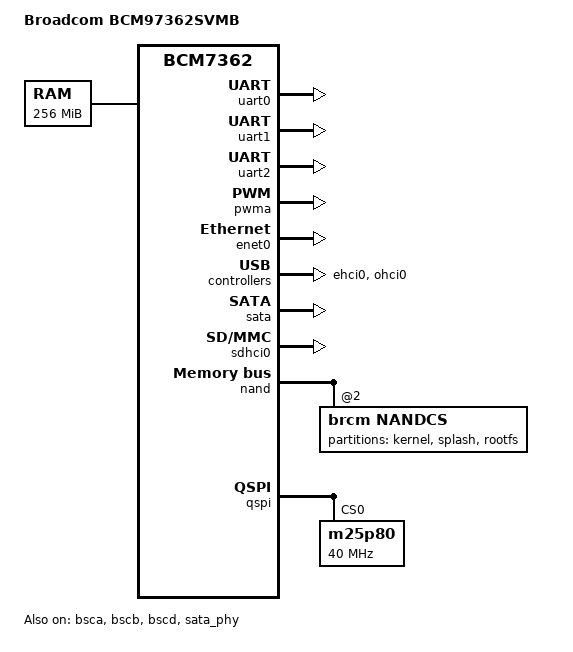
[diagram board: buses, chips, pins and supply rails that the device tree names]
/dts-v1/;

/include/ "bcm7362.dtsi"

/ {
	compatible = "brcm,bcm97362svmb", "brcm,bcm7362";
	model = "Broadcom BCM97362SVMB";

	memory@0 {
		device_type = "memory";
		reg = <0x00000000 0x10000000>;
	};

	chosen {
		bootargs = "console=ttyS0,115200";
		stdout-path = &uart0;
	};

	rdb {
		waketimer@408e80 {
			compatible = "brcm,brcmstb-waketimer";
			reg = <0x00408e80 0x14>;
			interrupts = <0x3>;
			interrupt-parent = <&aon_pm_l2_intc>;
			interrupt-names = "timer";
		};

		aon_ctrl: aon-ctrl@408000 {
			compatible = "brcm,brcmstb-aon-ctrl";
			reg = <0x408000 0x100>, <0x408200 0x200>;
			reg-names = "aon-ctrl", "aon-sram";
		};

		timers: timers@406680 {
			compatible = "brcm,brcmstb-timers";
			reg = <0x406680 0x40>;
		};
	};

	memory_controllers {
		compatible = "simple-bus";
		ranges = <0x0 0x103b0000 0xa000>;
		#address-cells = <1>;
		#size-cells = <1>;

		memc@0 {
			compatible = "brcm,brcmstb-memc", "simple-bus";
			ranges = <0x0 0x0 0xa000>;
			#address-cells = <1>;
			#size-cells = <1>;

			memc-arb@1000 {
				compatible = "brcm,brcmstb-memc-arb";
				reg = <0x1000 0x248>;
			};

			memc-ddr@2000 {
				compatible = "brcm,brcmstb-memc-ddr";
				reg = <0x2000 0x300>;
			};

			ddr-phy@6000 {
				compatible = "brcm,brcmstb-ddr-phy";
				reg = <0x6000 0xc8>;
			};

			shimphy@8000 {
				compatible = "brcm,brcmstb-ddr-shimphy";
				reg = <0x8000 0x13c>;
			};
		};
	};
};

&uart0 {
	status = "okay";
};

&uart1 {
	status = "okay";
};

&uart2 {
	status = "okay";
};

&bsca {
	clock-frequency = <97500>;
	status = "okay";
};

&bscb {
	clock-frequency = <97500>;
	status = "okay";
};

&bscd {
	clock-frequency = <97500>;
	status = "okay";
};

&pwma {
	status = "okay";
};

&enet0 {
	status = "okay";
};

&ehci0 {
	status = "okay";
};

&ohci0 {
	status = "okay";
};

&sata {
	status = "okay";
};

&sata_phy {
	status = "okay";
};

&sdhci0 {
	status = "okay";
};

&nand {
	status = "okay";

	nandcs@2 {
		compatible = "brcm,nandcs";
		reg = <2>;
		nand-on-flash-bbt;

		nand-ecc-strength = <4>;
		nand-ecc-step-size = <512>;

		partitions {
			compatible = "fixed-partitions";
			#address-cells = <0x2>;
			#size-cells = <0x2>;

			flash1.kernel@0 {
				label = "kernel";
				reg = <0x0 0x0 0x0 0x800000>;
			};

			flash1.splash@800000 {
				label = "splash";
				reg = <0x0 0x800000 0x0 0x400000>;
			};

			flash1.rootfs@c00000 {
				label = "rootfs";
				reg = <0x0 0xc00000 0x0 0x1f200000>;
			};
		};
	};
};

&qspi {
	status = "okay";

	m25p80@0 {
		#size-cells = <0x2>;
		#address-cells = <0x2>;
		compatible = "m25p80";
		reg = <0>;
		spi-max-frequency = <40000000>;
		spi-cpol;
		spi-cpha;
		use-bspi;
		m25p,fast-read;

		flash0.cfe@0 {
			label = "cfe";
			reg = <0x0 0x0 0x0 0xa0000>;
		};

		flash0.nvram@a0000 {
			label = "nvram";
			reg = <0x0 0xa0000 0x0 0x10000>;
		};

		flash0.mac@b0000 {
			label = "mac";
			reg = <0x0 0xb0000 0x0 0x10000>;
		};
	};
};
